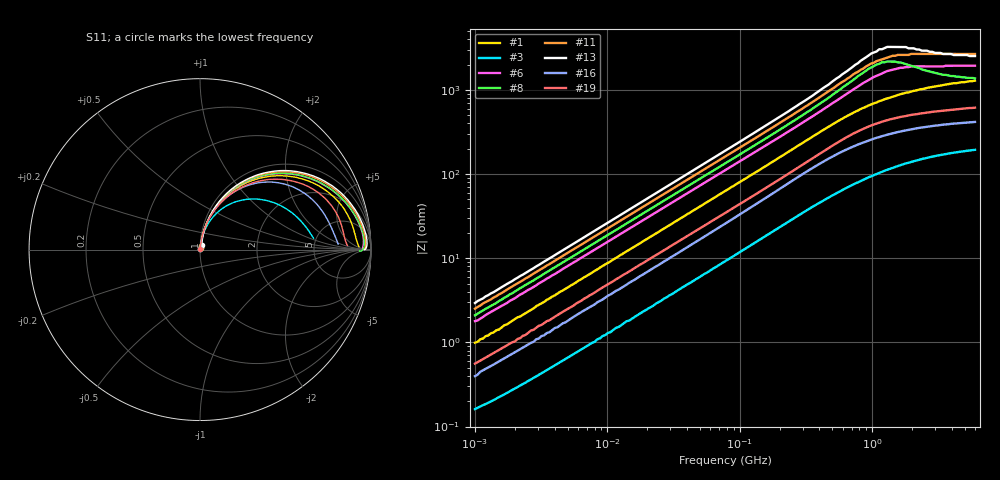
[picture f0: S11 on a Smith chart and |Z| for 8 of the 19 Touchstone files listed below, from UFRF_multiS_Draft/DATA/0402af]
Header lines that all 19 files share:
# MHz S MA R 50
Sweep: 1 MHz to 6 GHz
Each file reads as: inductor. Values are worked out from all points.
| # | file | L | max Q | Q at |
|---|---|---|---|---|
| 1 | 04AF141.s2p | 149 nH | 12 | 15.34 MHz |
| 2 | 04AF181.s2p | 191 nH | 11.5 | 19.33 MHz |
| 3 | 04AF200.s2p | 21.1 nH | 10.4 | 23.26 MHz |
| 4 | 04AF220.s2p | 23 nH | 10.9 | 22.21 MHz |
| 5 | 04AF221.s2p | 233 nH | 10.8 | 21.2 MHz |
| 6 | 04AF251.s2p | 269 nH | 11.3 | 14.64 MHz |
| 7 | 04AF271.s2p | 288 nH | 11.7 | 16.06 MHz |
| 8 | 04AF301.s2p | 323 nH | 12.4 | 11.62 MHz |
| 9 | 04AF330.s2p | 35.7 nH | 11.1 | 14.64 MHz |
| 10 | 04AF360.s2p | 37.9 nH | 9.72 | 30.7 MHz |
| 11 | 04AF361.s2p | 383 nH | 12.9 | 17.62 MHz |
| 12 | 04AF390.s2p | 40.7 nH | 9.97 | 30.7 MHz |
| 13 | 04AF421.s2p | 446 nH | 13.9 | 19.33 MHz |
| 14 | 04AF471.s2p | 498 nH | 12.2 | 20.24 MHz |
| 15 | 04AF510.s2p | 55.4 nH | 11.5 | 23.26 MHz |
| 16 | 04AF560.s2p | 59.7 nH | 11.9 | 23.26 MHz |
| 17 | 04AF561.s2p | 600 nH | 13.3 | 22.21 MHz |
| 18 | 04AF720.s2p | 77.7 nH | 13.7 | 7.66 MHz |
| 19 | 04AF780.s2p | 83.4 nH | 12 | 16.82 MHz |
